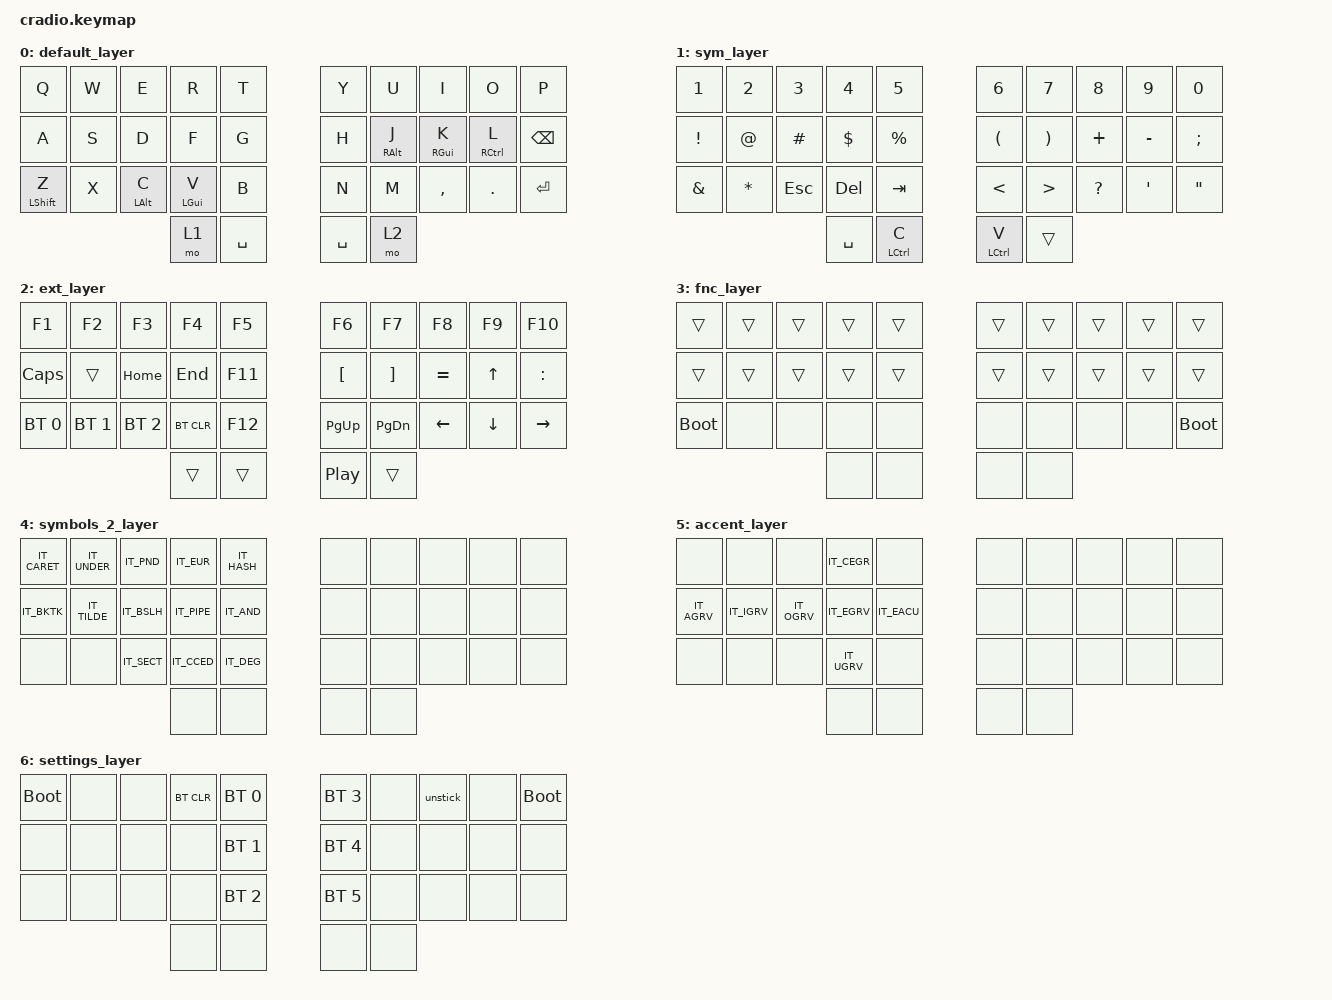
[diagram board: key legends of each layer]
/*
 * Copyright (c) 2020 The ZMK Contributors
 *
 * SPDX-License-Identifier: MIT
 */

#include <behaviors.dtsi>
#include "keymap_italian.h"
#include <dt-bindings/zmk/bt.h>
#include <dt-bindings/zmk/keys.h>

// Layer definitions

#define BASE 0
#define SYM 1
#define EXT 2
#define FNC 3
#define SYM2 4
#define ACCENT 5
#define SETTINGS 6

// -----------------

&mt {
    //  flavor = "tap-preferred";
    // tapping_term_ms = <200>;
};

&sk {
    ignore-modifiers;
};

/ {
    macros {
        // sometimes my device thinks a modifier is being held down
        // pressing all modifiers fixes it.

        unstick: unstick {
            label = "ZM_unstick";
            compatible = "zmk,behavior-macro";
            #binding-cells = <0>;
            bindings = <&kp LSHIFT &kp RSHIFT &kp LCTRL &kp RCTRL &kp LALT &kp RALT &kp LGUI &kp RGUI>;
        };
    };

    combos {
        compatible = "zmk,combos";

        // both right thumb keys
        // internal-left & external-right thumb keys
        // both left thumb keys

        left_1 {
            bindings = <&kp LEFT_BRACKET>;
            key-positions = <2 3>;
            timeout-ms = <30>;
        };

        right_1 {
            bindings = <&kp RBKT>;
            key-positions = <6 7>;
            timeout-ms = <30>;
        };

        left_2 {
            bindings = <&kp LEFT_PARENTHESIS>;
            key-positions = <12 13>;
            timeout-ms = <30>;
        };

        right_2 {
            bindings = <&kp RIGHT_PARENTHESIS>;
            key-positions = <16 17>;
            timeout-ms = <30>;
        };

        left_3 {
            bindings = <&kp LEFT_BRACE>;
            key-positions = <22 23>;
            timeout-ms = <30>;
        };

        right_3 {
            bindings = <&kp RIGHT_BRACE>;
            key-positions = <26 27>;
            timeout-ms = <30>;
        };

        minus {
            bindings = <&kp UNDER>;
            key-positions = <15 17>;
            timeout-ms = <30>;
        };

        lessthan {
            bindings = <&kp LESS_THAN>;
            key-positions = <25 27>;
            timeout-ms = <30>;
        };

        greater {
            bindings = <&kp GREATER_THAN>;
            key-positions = <25 28>;
            timeout-ms = <30>;
        };

        pipe {
            bindings = <&kp PIPE>;
            key-positions = <14 15>;
            timeout-ms = <30>;
        };

        backsplash {
            bindings = <&kp BACKSLASH>;
            key-positions = <4 5>;
            timeout-ms = <30>;
        };

        plus {
            bindings = <&kp PLUS>;
            key-positions = <15 18>;
            timeout-ms = <30>;
        };

        tab {
            bindings = <&kp TAB>;
            key-positions = <10 12 11>;
            timeout-ms = <30>;
        };

        tilde {
            bindings = <&kp TILDE>;
            key-positions = <5 6>;
        };

        grave {
            bindings = <&kp GRAVE>;
            key-positions = <3 4>;
        };

        semi {
            bindings = <&kp SEMI>;
            key-positions = <16 17 18>;
        };

        colon {
            bindings = <&kp COLON>;
            key-positions = <7 8 6>;
        };

        sqt {
            bindings = <&kp SQT>;
            key-positions = <17 18>;
        };

        dqt {
            bindings = <&kp DQT>;
            key-positions = <17 18 26>;
        };

        caps {
            bindings = <&kp CAPSLOCK>;
            key-positions = <11 18>;
        };
    };

    behaviors {
        ht: ht {
            compatible = "zmk,behavior-hold-tap";
            label = "HT";
            bindings = <&kp>, <&kp>;

            #binding-cells = <2>;
            tapping-term-ms = <200>;
            quick-tap-ms = <100>;
            global-quick-tap;
            flavor = "tap-preferred";
        };
        td_0: td_0 {
            compatible = "zmk,behavior-tap-dance";
            label = "TD_0";
            #binding-cells = <0>;
            bindings = <&mo 1>, <&kp LCTRL>, <&mo 3>;
        };
    };

    keymap {
        compatible = "zmk,keymap";

        // Base alpha layer

        default_layer {
            bindings = <
&kp Q             &kp W  &kp E           &kp R           &kp T        &kp Y      &kp U            &kp I            &kp O        &kp P
&kp A             &kp S  &kp D           &kp F           &kp G        &kp H      &ht RIGHT_ALT J  &ht RIGHT_GUI K  &ht RCTRL L  &kp BACKSPACE
&ht LEFT_SHIFT Z  &kp X  &ht LEFT_ALT C  &ht LEFT_GUI V  &kp B        &kp N      &kp M            &kp COMMA        &kp DOT      &kp RETURN
                                         &mo 1           &kp SPACE    &kp SPACE  &mo 2
            >;
        };

        // Numbers and high frequency symbols

        sym_layer {
            bindings = <
&kp N1           &kp N2        &kp N3    &kp N4      &kp N5                &kp N6                &kp N7            &kp N8        &kp N9            &kp N0
&kp EXCLAMATION  &kp AT_SIGN   &kp HASH  &kp DOLLAR  &kp PERCENT           &kp LEFT_PARENTHESIS  &kp RPAR          &kp PLUS      &kp MINUS         &kp SEMICOLON
&kp AMPERSAND    &kp ASTERISK  &kp ESC   &kp DEL     &kp TAB               &kp LESS_THAN         &kp GREATER_THAN  &kp QUESTION  &kp SINGLE_QUOTE  &kp DOUBLE_QUOTES
                                         &kp SPACE   &ht LEFT_CONTROL C    &ht LEFT_CONTROL V    &trans
            >;
        };

        // Main modifiers and arrow keys

        ext_layer {
            bindings = <
&kp F1        &kp F2        &kp F3        &kp F4      &kp F5     &kp F6            &kp F7             &kp F8     &kp F9        &kp F10
&kp CAPSLOCK  &trans        &kp HOME      &kp END     &kp F11    &kp LEFT_BRACKET  &kp RIGHT_BRACKET  &kp EQUAL  &kp UP_ARROW  &kp COLON
&bt BT_SEL 0  &bt BT_SEL 1  &bt BT_SEL 2  &bt BT_CLR  &kp F12    &kp PG_UP         &kp PAGE_DOWN      &kp LEFT   &kp DOWN      &kp RIGHT
                                          &trans      &trans     &kp C_PP          &trans
            >;
        };

        // Function keys with modifiers

        fnc_layer {
            bindings = <
&trans       &trans  &trans  &trans  &trans    &trans  &trans  &trans  &trans  &trans
&trans       &trans  &trans  &trans  &trans    &trans  &trans  &trans  &trans  &trans
&bootloader  &none   &none   &none   &none     &none   &none   &none   &none   &bootloader
                             &none   &none     &none   &none
            >;
        };

        // Low frequency symbols.

        symbols_2_layer {
            bindings = <
&kp IT_CARET  &kp IT_UNDER  &kp IT_PND   &kp IT_EUR   &kp IT_HASH    &none  &none  &none  &none  &none
&kp IT_BKTK   &kp IT_TILDE  &kp IT_BSLH  &kp IT_PIPE  &kp IT_AND     &none  &none  &none  &none  &none
&none         &none         &kp IT_SECT  &kp IT_CCED  &kp IT_DEG     &none  &none  &none  &none  &none
                                         &none        &none          &none  &none
            >;
        };

        // Used to type regional accents.

        accent_layer {
            bindings = <
&none        &none        &none        &kp IT_CEGR  &none          &none  &none  &none  &none  &none
&kp IT_AGRV  &kp IT_IGRV  &kp IT_OGRV  &kp IT_EGRV  &kp IT_EACU    &none  &none  &none  &none  &none
&none        &none        &none        &kp IT_UGRV  &none          &none  &none  &none  &none  &none
                                       &none        &none          &none  &none
            >;
        };

        // Used to change the keyboard's settings.

        settings_layer {
            bindings = <
&bootloader  &none  &none  &bt BT_CLR  &bt BT_SEL 0    &bt BT_SEL 3  &none  &unstick  &none  &bootloader
&none        &none  &none  &none       &bt BT_SEL 1    &bt BT_SEL 4  &none  &none     &none  &none
&none        &none  &none  &none       &bt BT_SEL 2    &bt BT_SEL 5  &none  &none     &none  &none
                           &none       &none           &none         &none
            >;
        };
    };
};
